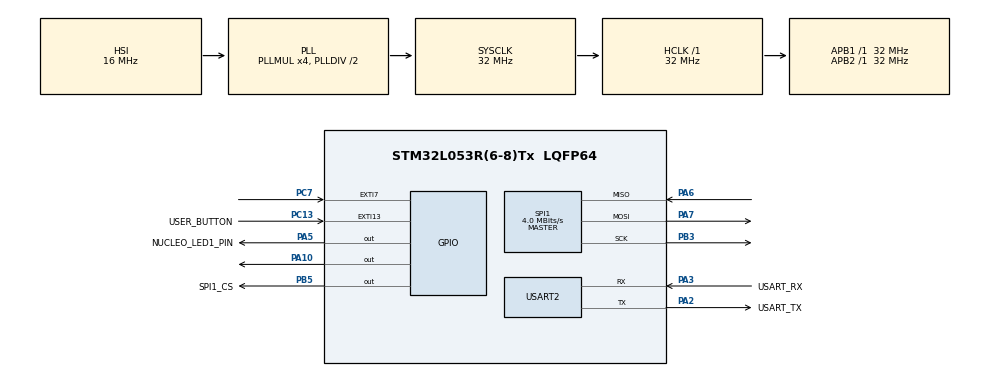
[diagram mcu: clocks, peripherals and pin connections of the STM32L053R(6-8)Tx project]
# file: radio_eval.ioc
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Mcu.Family=STM32L0
Mcu.Name=STM32L053R(6-8)Tx
Mcu.Package=LQFP64
NVIC.EXTI4_15_IRQn=true\:0\:0\:false\:false\:true\:true\:true
NVIC.TIM2_IRQn=true\:0\:0\:false\:false\:true\:true\:true
PA10.GPIO_PuPd=GPIO_PULLUP
PA10.GPIO_Speed=GPIO_SPEED_FREQ_HIGH
PA10.Signal=GPIO_Output
PA13.GPIO_Label=TMS
PA13.Mode=Serial_Wire
PA13.Signal=SYS_SWDIO
PA14.GPIO_Label=TCK
PA14.Mode=Serial_Wire
PA14.Signal=SYS_SWCLK
PA2.GPIO_Label=USART_TX
PA2.Mode=Asynchronous
PA2.Signal=USART2_TX
PA3.GPIO_Label=USART_RX
PA3.Mode=Asynchronous
PA3.Signal=USART2_RX
PA5.GPIO_Label=NUCLEO_LED1_PIN
PA5.Signal=GPIO_Output
PA6.Mode=Full_Duplex_Master
PA6.Signal=SPI1_MISO
PA7.Mode=Full_Duplex_Master
PA7.Signal=SPI1_MOSI
PB3.Mode=Full_Duplex_Master
PB3.Signal=SPI1_SCK
PB5.GPIO_Label=SPI1_CS
PB5.Signal=GPIO_Output
PC13.GPIO_Label=USER_BUTTON
PC13.GPIO_ModeDefaultEXTI=GPIO_MODE_IT_FALLING
PC13.Signal=GPXTI13
PC7.GPIO_ModeDefaultEXTI=GPIO_MODE_IT_FALLING
PC7.Signal=GPXTI7
ProjectManager.HeapSize=0x200
ProjectManager.StackSize=0x400
ProjectManager.TargetToolchain=STM32CubeIDE
RCC.AHBFreq_Value=32000000
RCC.APB1Freq_Value=32000000
RCC.APB1TimFreq_Value=32000000
RCC.APB2Freq_Value=32000000
RCC.APB2TimFreq_Value=32000000
RCC.HCLKFreq_Value=32000000
RCC.HSE_VALUE=8000000
RCC.HSI16_VALUE=16000000
RCC.HSI48_VALUE=48000000
RCC.HSI_VALUE=16000000
RCC.LSE_VALUE=32768
RCC.MSI_VALUE=2097000
RCC.PLLMUL=RCC_PLLMUL_4
RCC.SYSCLKFreq_VALUE=32000000
RCC.SYSCLKSource=RCC_SYSCLKSOURCE_PLLCLK
RCC.VCOOutputFreq_Value=64000000
SPI1.BaudRatePrescaler=SPI_BAUDRATEPRESCALER_8
SPI1.CalculateBaudRate=4.0 MBits/s
SPI1.Direction=SPI_DIRECTION_2LINES
SPI1.Mode=SPI_MODE_MASTER
SPI1.VirtualType=VM_MASTER
USART2.VirtualMode-Asynchronous=VM_ASYNC
VP_TIM2_VS_ClockSourceINT.Mode=Internal
board=NUCLEO-L053R8

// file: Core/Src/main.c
/* USER CODE BEGIN Header */
/**
  ******************************************************************************
  * @file           : main.c
  * @brief          : Main program body
  ******************************************************************************
  * @attention
  *
  * <h2><center>&copy; Copyright (c) 2020 STMicroelectronics.
  * All rights reserved.</center></h2>
  *
  * This software component is licensed by ST under BSD 3-Clause license,
  * the "License"; You may not use this file except in compliance with the
  * License. You may obtain a copy of the License at:
  *                        opensource.org/licenses/BSD-3-Clause
  *
  ******************************************************************************
  */
/* USER CODE END Header */

#include "main.h"

/* USER CODE BEGIN Includes */
#include "cube_hal.h"
#include "radio_shield_config.h"
#include "radio_appli.h"

#include "fsm.h"

/* USER CODE END Includes */

SPI_HandleTypeDef hspi1;

TIM_HandleTypeDef htim2;

UART_HandleTypeDef huart2;

void SystemClock_Config(void);
static void MX_GPIO_Init(void);
static void MX_USART2_UART_Init(void);
static void MX_SPI1_Init(void);
static void MX_TIM2_Init(void);
/* USER CODE BEGIN PFP */

void Clock_Enable(void);

/* USER CODE END PFP */

int main(void)
{

  /* MCU Configuration--------------------------------------------------------*/

  /* Reset of all peripherals, Initializes the Flash interface and the Systick. */
  HAL_Init();

  /* USER CODE BEGIN Init */
  Clock_Enable();

  /* USER CODE END Init */

  /* Configure the system clock */
  SystemClock_Config();

  /* Initialize all configured peripherals */
  MX_GPIO_Init();
  MX_USART2_UART_Init();
  MX_SPI1_Init();
  MX_TIM2_Init();
  /* USER CODE BEGIN 2 */
  /* Initialize LEDs*/
#if defined(X_NUCLEO_IDS01A4) || defined(X_NUCLEO_IDS01A5)
  RadioShieldLedInit(RADIO_SHIELD_LED);
#endif
  BSP_LED_Init(LED2);
  HAL_Radio_Init();
  P2P_Init();
  /* USER CODE END 2 */

  /* Infinite loop */
  while (1)
  {

    /* USER CODE BEGIN 3 */
	P2P_Process();
  }
  /* USER CODE END 3 */
}

void SystemClock_Config(void)
{
  RCC_OscInitTypeDef RCC_OscInitStruct = {0};
  RCC_ClkInitTypeDef RCC_ClkInitStruct = {0};
  RCC_PeriphCLKInitTypeDef PeriphClkInit = {0};

  /** Configure the main internal regulator output voltage
  */
  __HAL_PWR_VOLTAGESCALING_CONFIG(PWR_REGULATOR_VOLTAGE_SCALE1);
  /** Initializes the CPU, AHB and APB busses clocks
  */
  RCC_OscInitStruct.OscillatorType = RCC_OSCILLATORTYPE_HSI;
  RCC_OscInitStruct.HSIState = RCC_HSI_ON;
  RCC_OscInitStruct.HSICalibrationValue = RCC_HSICALIBRATION_DEFAULT;
  RCC_OscInitStruct.PLL.PLLState = RCC_PLL_ON;
  RCC_OscInitStruct.PLL.PLLSource = RCC_PLLSOURCE_HSI;
  RCC_OscInitStruct.PLL.PLLMUL = RCC_PLLMUL_4;
  RCC_OscInitStruct.PLL.PLLDIV = RCC_PLLDIV_2;
  if (HAL_RCC_OscConfig(&RCC_OscInitStruct) != HAL_OK)
  {
    Error_Handler();
  }
  /** Initializes the CPU, AHB and APB busses clocks
  */
  RCC_ClkInitStruct.ClockType = RCC_CLOCKTYPE_HCLK|RCC_CLOCKTYPE_SYSCLK
                              |RCC_CLOCKTYPE_PCLK1|RCC_CLOCKTYPE_PCLK2;
  RCC_ClkInitStruct.SYSCLKSource = RCC_SYSCLKSOURCE_PLLCLK;
  RCC_ClkInitStruct.AHBCLKDivider = RCC_SYSCLK_DIV1;
  RCC_ClkInitStruct.APB1CLKDivider = RCC_HCLK_DIV1;
  RCC_ClkInitStruct.APB2CLKDivider = RCC_HCLK_DIV1;

  if (HAL_RCC_ClockConfig(&RCC_ClkInitStruct, FLASH_LATENCY_1) != HAL_OK)
  {
    Error_Handler();
  }
  PeriphClkInit.PeriphClockSelection = RCC_PERIPHCLK_USART2;
  PeriphClkInit.Usart2ClockSelection = RCC_USART2CLKSOURCE_PCLK1;
  if (HAL_RCCEx_PeriphCLKConfig(&PeriphClkInit) != HAL_OK)
  {
    Error_Handler();
  }
}

static void MX_SPI1_Init(void)
{

  /* SPI1 parameter configuration*/
  hspi1.Instance = SPI1;
  hspi1.Init.Mode = SPI_MODE_MASTER;
  hspi1.Init.Direction = SPI_DIRECTION_2LINES;
  hspi1.Init.DataSize = SPI_DATASIZE_8BIT;
  hspi1.Init.CLKPolarity = SPI_POLARITY_LOW;
  hspi1.Init.CLKPhase = SPI_PHASE_1EDGE;
  hspi1.Init.NSS = SPI_NSS_SOFT;
  hspi1.Init.BaudRatePrescaler = SPI_BAUDRATEPRESCALER_8;
  hspi1.Init.FirstBit = SPI_FIRSTBIT_MSB;
  hspi1.Init.TIMode = SPI_TIMODE_DISABLE;
  hspi1.Init.CRCCalculation = SPI_CRCCALCULATION_DISABLE;
  hspi1.Init.CRCPolynomial = 7;
  if (HAL_SPI_Init(&hspi1) != HAL_OK)
  {
    Error_Handler();
  }

}

static void MX_TIM2_Init(void)
{

  TIM_ClockConfigTypeDef sClockSourceConfig = {0};
  TIM_MasterConfigTypeDef sMasterConfig = {0};

  htim2.Instance = TIM2;
  htim2.Init.Prescaler = 0;
  htim2.Init.CounterMode = TIM_COUNTERMODE_UP;
  htim2.Init.Period = 0;
  htim2.Init.ClockDivision = TIM_CLOCKDIVISION_DIV1;
  htim2.Init.AutoReloadPreload = TIM_AUTORELOAD_PRELOAD_DISABLE;
  if (HAL_TIM_Base_Init(&htim2) != HAL_OK)
  {
    Error_Handler();
  }
  sClockSourceConfig.ClockSource = TIM_CLOCKSOURCE_INTERNAL;
  if (HAL_TIM_ConfigClockSource(&htim2, &sClockSourceConfig) != HAL_OK)
  {
    Error_Handler();
  }
  sMasterConfig.MasterOutputTrigger = TIM_TRGO_RESET;
  sMasterConfig.MasterSlaveMode = TIM_MASTERSLAVEMODE_DISABLE;
  if (HAL_TIMEx_MasterConfigSynchronization(&htim2, &sMasterConfig) != HAL_OK)
  {
    Error_Handler();
  }

}

static void MX_USART2_UART_Init(void)
{

  huart2.Instance = USART2;
  huart2.Init.BaudRate = 115200;
  huart2.Init.WordLength = UART_WORDLENGTH_8B;
  huart2.Init.StopBits = UART_STOPBITS_1;
  huart2.Init.Parity = UART_PARITY_NONE;
  huart2.Init.Mode = UART_MODE_TX_RX;
  huart2.Init.HwFlowCtl = UART_HWCONTROL_NONE;
  huart2.Init.OverSampling = UART_OVERSAMPLING_16;
  huart2.Init.OneBitSampling = UART_ONE_BIT_SAMPLE_DISABLE;
  huart2.AdvancedInit.AdvFeatureInit = UART_ADVFEATURE_NO_INIT;
  if (HAL_UART_Init(&huart2) != HAL_OK)
  {
    Error_Handler();
  }

}

static void MX_GPIO_Init(void)
{
  GPIO_InitTypeDef GPIO_InitStruct = {0};

  /* GPIO Ports Clock Enable */
  __HAL_RCC_GPIOC_CLK_ENABLE();
  __HAL_RCC_GPIOA_CLK_ENABLE();
  __HAL_RCC_GPIOB_CLK_ENABLE();

  /*Configure GPIO pin Output Level */
  HAL_GPIO_WritePin(GPIOA, NUCLEO_LED1_PIN_Pin|GPIO_PIN_10, GPIO_PIN_RESET);

  /*Configure GPIO pin Output Level */
  HAL_GPIO_WritePin(SPI1_CS_GPIO_Port, SPI1_CS_Pin, GPIO_PIN_RESET);

  /*Configure GPIO pins : USER_BUTTON_Pin PC7 */
  GPIO_InitStruct.Pin = USER_BUTTON_Pin|GPIO_PIN_7;
  GPIO_InitStruct.Mode = GPIO_MODE_IT_FALLING;
  GPIO_InitStruct.Pull = GPIO_NOPULL;
  HAL_GPIO_Init(GPIOC, &GPIO_InitStruct);

  /*Configure GPIO pin : NUCLEO_LED1_PIN_Pin */
  GPIO_InitStruct.Pin = NUCLEO_LED1_PIN_Pin;
  GPIO_InitStruct.Mode = GPIO_MODE_OUTPUT_PP;
  GPIO_InitStruct.Pull = GPIO_NOPULL;
  GPIO_InitStruct.Speed = GPIO_SPEED_FREQ_LOW;
  HAL_GPIO_Init(NUCLEO_LED1_PIN_GPIO_Port, &GPIO_InitStruct);

  /*Configure GPIO pin : PA10 */
  GPIO_InitStruct.Pin = GPIO_PIN_10;
  GPIO_InitStruct.Mode = GPIO_MODE_OUTPUT_PP;
  GPIO_InitStruct.Pull = GPIO_PULLUP;
  GPIO_InitStruct.Speed = GPIO_SPEED_FREQ_HIGH;
  HAL_GPIO_Init(GPIOA, &GPIO_InitStruct);

  /*Configure GPIO pin : SPI1_CS_Pin */
  GPIO_InitStruct.Pin = SPI1_CS_Pin;
  GPIO_InitStruct.Mode = GPIO_MODE_OUTPUT_PP;
  GPIO_InitStruct.Pull = GPIO_NOPULL;
  GPIO_InitStruct.Speed = GPIO_SPEED_FREQ_LOW;
  HAL_GPIO_Init(SPI1_CS_GPIO_Port, &GPIO_InitStruct);

  /* EXTI interrupt init*/
  HAL_NVIC_SetPriority(EXTI4_15_IRQn, 0, 0);
  HAL_NVIC_EnableIRQ(EXTI4_15_IRQn);

}

/* USER CODE BEGIN 4 */

void Clock_Enable(void)
{
  __GPIOA_CLK_ENABLE();
  __GPIOB_CLK_ENABLE();
  __GPIOC_CLK_ENABLE();
  __GPIOD_CLK_ENABLE();
}

/* USER CODE END 4 */

void Error_Handler(void)
{
}

/************************ (C) COPYRIGHT STMicroelectronics *****END OF FILE****/
